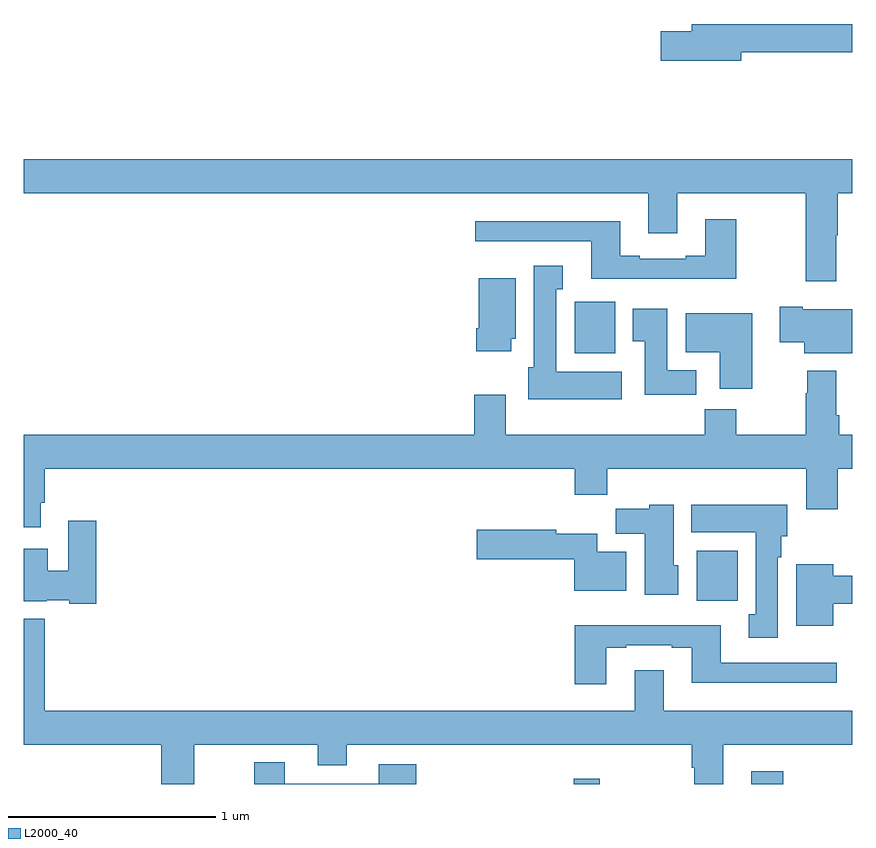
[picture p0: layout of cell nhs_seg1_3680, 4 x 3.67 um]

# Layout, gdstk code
import gdstk
lib = gdstk.Library(unit=1e-6, precision=1e-09)
def R(c, l, rs):  # rectangles x0, y0, x1, y1
    for r in rs: c.add(gdstk.rectangle(r[:2], r[2:], *l))
def P(c, l, *ps):  # polygons
    for p in ps: c.add(gdstk.Polygon(p, *l))
L2000_40 = (2000, 40)

nhs_seg1_3680 = lib.new_cell('nhs_seg1_3680')
R(nhs_seg1_3680, L2000_40, [(313.655,562.199,313.78,562.225), (314.513,562.199,314.666,562.261), (314.249,563.084,314.446,563.326), (313.659,564.278,313.855,564.528)])
P(nhs_seg1_3680, L2000_40, [(314.464,565.732),(315,565.732),(315,565.868),(314.225,565.868),(314.225,565.832),(314.076,565.832),(314.076,565.69),(314.464,565.69)],
  [(314.923,564.848),(314.931,564.848),(314.931,565.052),(315,565.052),(315,565.216),(311,565.216),(311,565.052),(314.015,565.052),(314.015,564.858),(314.155,564.858),(314.155,565.052),(314.776,565.052),(314.776,564.627),(314.923,564.627)],
  [(314.439,564.925),(314.291,564.925),(314.291,564.748),(314.195,564.748),(314.195,564.735),(313.975,564.735),(313.975,564.748),(313.879,564.748),(313.879,564.916),(313.179,564.916),(313.179,564.819),(313.739,564.819),(313.739,564.638),(314.439,564.638)],
  [(313.888,564.19),(313.57,564.19),(313.57,564.587),(313.603,564.587),(313.603,564.7),(313.463,564.7),(313.463,564.21),(313.436,564.21),(313.436,564.056),(313.888,564.056)],
  [(313.354,564.348),(313.375,564.348),(313.375,564.64),(313.196,564.64),(313.196,564.4),(313.184,564.4),(313.184,564.288),(313.354,564.288)],
  [(315,564.49),(314.761,564.49),(314.761,564.503),(314.649,564.503),(314.649,564.332),(314.768,564.332),(314.768,564.278),(315,564.278)],
  [(314.246,564.196),(314.107,564.196),(314.107,564.493),(313.94,564.493),(313.94,564.337),(313.997,564.337),(313.997,564.078),(314.246,564.078)],
  [(314.518,564.472),(314.195,564.472),(314.195,564.284),(314.36,564.284),(314.36,564.108),(314.518,564.108)],
  [(311.083,563.557),(311.101,563.557),(311.101,563.72),(313.661,563.72),(313.661,563.596),(313.817,563.596),(313.817,563.72),(314.777,563.72),(314.777,563.526),(314.93,563.526),(314.93,563.72),(315,563.72),(315,563.884),(314.936,563.884),(314.936,563.98),(314.923,563.98),(314.923,564.193),(314.783,564.193),(314.783,564.086),(314.776,564.086),(314.776,563.884),(314.439,563.884),(314.439,564.008),(314.287,564.008),(314.287,563.884),(313.327,563.884),(313.327,564.079),(313.175,564.079),(313.175,563.884),(311,563.884),(311,563.439),(311.083,563.439)],
  [(314.161,563.256),(314.137,563.256),(314.137,563.548),(314.019,563.548),(314.019,563.527),(313.858,563.527),(313.858,563.408),(313.997,563.408),(313.997,563.112),(314.161,563.112)],
  [(314.641,563.294),(314.656,563.294),(314.656,563.394),(314.686,563.394),(314.686,563.548),(314.222,563.548),(314.222,563.414),(314.534,563.414),(314.534,563.018),(314.501,563.018),(314.501,562.905),(314.641,562.905)],
  [(311.351,563.47),(311.216,563.47),(311.216,563.229),(311.116,563.229),(311.116,563.335),(311,563.335),(311,563.081),(311.112,563.081),(311.112,563.087),(311.22,563.087),(311.22,563.069),(311.351,563.069)],
  [(313.909,563.32),(313.768,563.32),(313.768,563.407),(313.572,563.407),(313.572,563.427),(313.188,563.427),(313.188,563.285),(313.658,563.285),(313.658,563.132),(313.909,563.132)],
  [(314.908,563.068),(315,563.068),(315,563.204),(314.908,563.204),(314.908,563.26),(314.729,563.26),(314.729,562.964),(314.908,562.964)],
  [(311,562.996),(311,562.388),(311.663,562.388),(311.663,562.199),(311.823,562.199),(311.823,562.388),(312.419,562.388),(312.419,562.289),(312.559,562.289),(312.559,562.388),(314.225,562.388),(314.225,562.278),(314.238,562.278),(314.238,562.199),(314.377,562.199),(314.377,562.388),(315,562.388),(315,562.552),(314.089,562.552),(314.089,562.747),(313.949,562.747),(313.949,562.552),(311.101,562.552),(311.101,562.996)],
  [(313.813,562.857),(313.909,562.857),(313.909,562.869),(314.129,562.869),(314.129,562.857),(314.225,562.857),(314.225,562.688),(314.926,562.688),(314.926,562.785),(314.365,562.785),(314.365,562.966),(313.661,562.966),(313.661,562.68),(313.813,562.68)],
  [(312.895,562.294),(312.713,562.294),(312.713,562.2),(312.259,562.2),(312.259,562.303),(312.112,562.303),(312.112,562.199),(312.895,562.199)])

lib.write_gds('nhs_seg1_3680.gds')
